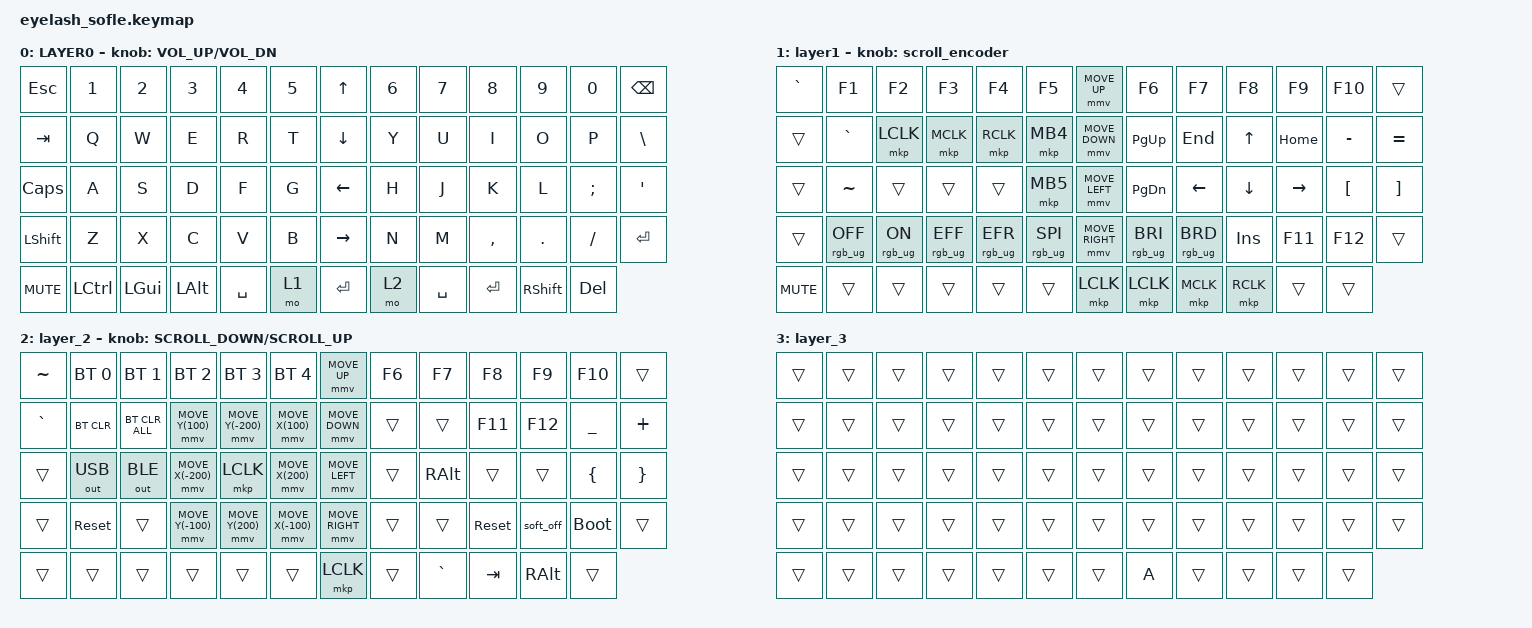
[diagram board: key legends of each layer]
#define ZMK_POINTING_DEFAULT_MOVE_VAL 1200  // 600
#define ZMK_POINTING_DEFAULT_SCRL_VAL 25   // 10

#include <input/processors.dtsi>
#include <zephyr/dt-bindings/input/input-event-codes.h>
#include <behaviors.dtsi>
#include <dt-bindings/zmk/bt.h>
#include <dt-bindings/zmk/keys.h>
#include <dt-bindings/zmk/outputs.h>
#include <dt-bindings/zmk/pointing.h>
#include <dt-bindings/zmk/rgb.h>

&mmv_input_listener { input-processors = <&zip_xy_scaler 2 1>; };

&msc_input_listener { input-processors = <&zip_scroll_scaler 2 1>; };

&msc {
    acceleration-exponent = <1>;      // 0
    time-to-max-speed-ms = <100>;       // 300
    delay-ms = <0>;                   // 0
};

&mmv {
    time-to-max-speed-ms = <500>;
    acceleration-exponent = <1>;
    trigger-period-ms = <16>;
};

/ {
    scroll_encoder: scroll_encoder {
        compatible = "zmk,behavior-sensor-rotate";
        #sensor-binding-cells = <0>;
        bindings = <&msc SCRL_DOWN>, <&msc SCRL_UP>;

        tap-ms = <100>;
    };

    behaviors {
    };

    keymap {
        compatible = "zmk,keymap";

        layer0 {
            bindings = <
&kp ESC     &kp N1     &kp N2        &kp N3        &kp N4     &kp N5    &kp UP_ARROW     &kp N6  &kp N7     &kp N8     &kp N9           &kp N0      &kp BACKSPACE
&kp TAB     &kp Q      &kp W         &kp E         &kp R      &kp T     &kp DOWN_ARROW   &kp Y   &kp U      &kp I      &kp O            &kp P       &kp BSLH
&kp CAPS    &kp A      &kp S         &kp D         &kp F      &kp G     &kp LEFT_ARROW   &kp H   &kp J      &kp K      &kp L            &kp SEMI    &kp APOS
&kp LSHFT   &kp Z      &kp X         &kp C         &kp V      &kp B     &kp RIGHT_ARROW  &kp N   &kp M      &kp COMMA  &kp DOT          &kp FSLH    &kp ENTER
&kp C_MUTE  &kp LCTRL  &kp LEFT_GUI  &kp LEFT_ALT  &kp SPACE  &mo 1     &kp ENTER        &mo 2   &kp SPACE  &kp ENTER  &kp RIGHT_SHIFT  &kp DELETE
            >;

            sensor-bindings = <&inc_dec_kp C_VOLUME_UP C_VOL_DN>;
            display-name = "LAYER0";
        };

        layer_1 {
            bindings = <
&kp GRAVE   &kp F1           &kp F2          &kp F3           &kp F4           &kp F5             &mmv MOVE_UP     &kp F6           &kp F7           &kp F8      &kp F9     &kp F10           &trans
&trans      &kp GRAVE        &mkp LCLK       &mkp MCLK        &mkp RCLK        &mkp MB4           &mmv MOVE_DOWN   &kp PG_UP        &kp END          &kp UP      &kp HOME   &kp MINUS         &kp EQUAL
&trans      &kp TILDE        &trans          &trans           &trans           &mkp MB5           &mmv MOVE_LEFT   &kp PG_DN        &kp LEFT         &kp DOWN    &kp RIGHT  &kp LEFT_BRACKET  &kp RIGHT_BRACKET
&trans      &rgb_ug RGB_OFF  &rgb_ug RGB_ON  &rgb_ug RGB_EFF  &rgb_ug RGB_EFR  &rgb_ug RGB_SPI    &mmv MOVE_RIGHT  &rgb_ug RGB_BRI  &rgb_ug RGB_BRD  &kp INSERT  &kp F11    &kp F12           &trans
&kp C_MUTE  &trans           &trans          &trans           &trans           &trans             &mkp LCLK        &mkp LCLK        &mkp MCLK        &mkp RCLK   &trans     &trans
            >;

            display-name = "layer1";
            sensor-bindings = <&scroll_encoder>;
        };

        layer_2 {
            bindings = <
&kp TILDE  &bt BT_SEL 0  &bt BT_SEL 1    &bt BT_SEL 2       &bt BT_SEL 3       &bt BT_SEL 4         &mmv MOVE_UP     &kp F6  &kp F7         &kp F8      &kp F9         &kp F10      &trans
&kp GRAVE  &bt BT_CLR    &bt BT_CLR_ALL  &mmv MOVE_Y(100)   &mmv MOVE_Y(-200)  &mmv MOVE_X(100)     &mmv MOVE_DOWN   &trans  &trans         &kp F11     &kp F12        &kp UNDER    &kp PLUS
&trans     &out OUT_USB  &out OUT_BLE    &mmv MOVE_X(-200)  &mkp LCLK          &mmv MOVE_X(200)     &mmv MOVE_LEFT   &trans  &kp RIGHT_ALT  &trans      &trans         &kp LBRC     &kp RBRC
&trans     &sys_reset    &trans          &mmv MOVE_Y(-100)  &mmv MOVE_Y(200)   &mmv MOVE_X(-100)    &mmv MOVE_RIGHT  &trans  &trans         &sys_reset  &soft_off      &bootloader  &trans
&trans     &trans        &trans          &trans             &trans             &trans               &mkp LCLK        &trans  &kp GRAVE      &kp TAB     &kp RIGHT_ALT  &trans
            >;

            sensor-bindings = <&inc_dec_kp K_SCROLL_DOWN K_SCROLL_UP>;
        };

        layer_3 {
            bindings = <
&trans  &trans  &trans  &trans  &trans  &trans    &trans  &trans  &trans  &trans  &trans  &trans  &trans
&trans  &trans  &trans  &trans  &trans  &trans    &trans  &trans  &trans  &trans  &trans  &trans  &trans
&trans  &trans  &trans  &trans  &trans  &trans    &trans  &trans  &trans  &trans  &trans  &trans  &trans
&trans  &trans  &trans  &trans  &trans  &trans    &trans  &trans  &trans  &trans  &trans  &trans  &trans
&trans  &trans  &trans  &trans  &trans  &trans    &trans  &kp A   &trans  &trans  &trans  &trans
            >;
        };
    };
};
